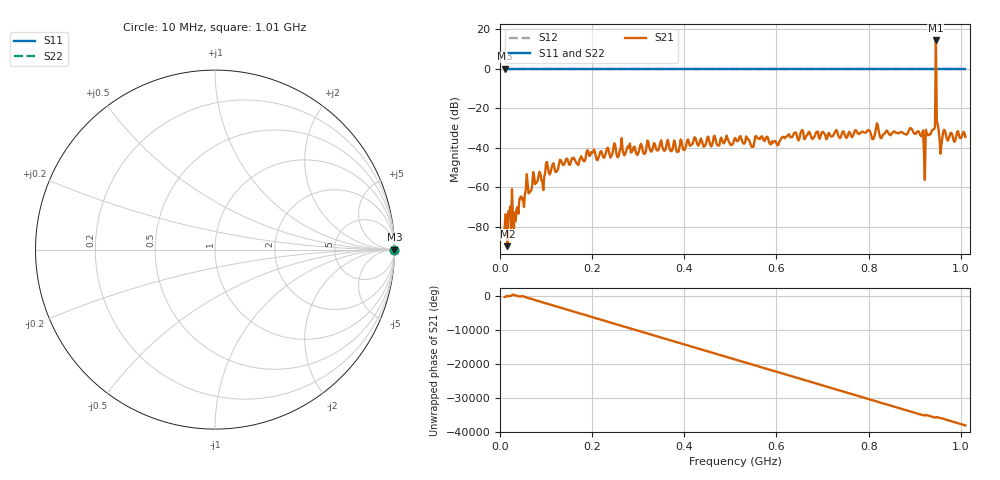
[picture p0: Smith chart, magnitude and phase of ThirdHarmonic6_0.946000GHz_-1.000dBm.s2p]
! 8/16/2025 6:45:18 AM
! C:\ANRITSUVNA\TEMP\TEMP.S2P
! CHANNEL.1
! TR.MEASUREMENT
! RAW.DATA
! RF.CORRECTION.OFF
! AVERAGING.OFF
! IF.BANDWIDTH: 5KHZ
! SWEEPTYPE:  FREQ.SWEEP(Linear)
! Reference Plane Port Info
! PORT:  PORT1  PORT2
! DISTANCE:  0  m  0  m
! TIME:  0  s  0  s
! PHASE.OFFSET:  0  deg.  0  deg.
! LOSS:  0  dB  0  dB
! REF.LOSS:  0  dB  0  dB
! REF.FREQ:  0  Hz  0  Hz
! Power Info
! POWER:  -20  dBm  -20  dBm
! EFF.POWER:  -20  dBm  -20  dBm
! SOURCE.ATTEN:  0  dB  0  dB
! TEST.ATTEN:  0  dB  0  dB
# GHZ S RI R 50.0
! FREQ.GHZ  S11RE  S11IM  S21RE  S21IM  S12RE  S12IM  S22RE  S22IM
!; PortSelection: Port_12
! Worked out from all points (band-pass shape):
!   501 points, 10 MHz to 1.01 GHz, reference 50 ohm
!   highest |S21| = 14.29 dB at 946 MHz (marker M1); lowest = -89.8 dB at 16 MHz (marker M2)
!   |S21| within 3 dB of the highest: 945.8633 MHz to 946.1469 MHz (283.5 kHz wide, 0.03 % of centre)
!   lowest |S11| = 0.0 dB at 10 MHz (marker M3)
!   |S11| at or under -10 dB: nowhere
!   |S22| runs from 0.0 to 0.0 dB; largest |S21 - S12| = 5.7
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0.01  1 0  -9.33e-05 -4.2e-06  1 0  1 0
0.016  1 0  3.13e-05 8.7e-06  1 0  1 0
0.032  1 0  0.000223 -5.93e-05  1 0  1 0
0.058  1 0  0.00213 0.000351  1 0  1 0
0.094  1 0  0.000848 -7.1e-05  1 0  1 0
0.102  1 0  0.00417 0.00131  1 0  1 0
0.178  1 0  -0.00552 0.000146  1 0  1 0
0.344  1 0  0.0081 -0.0037  1 0  1 0
0.51  1 0  -0.00909 0.0153  1 0  1 0
0.678  1 0  -0.0166 -0.000188  1 0  1 0
0.844  1 0  0.0157 -0.0158  1 0  1 0
0.892  1 0  -0.0312 0.0013  1 0  1 0
0.914  1 0  0.0188 0.00534  1 0  1 0
0.918  1 0  -0.0196 -0.019  1 0  1 0
0.94  1 0  0.0199 0.0208  1 0  1 0
0.942  1 0  0.0249 -0.0168  1 0  1 0
0.946  1 0  -2.275 -4.659  1 0  1 0
0.95  1 0  0.0283 -0.0271  1 0  1 0
0.952  1 0  -0.0203 -0.0175  1 0  1 0
0.958  1 0  0.00896 0.00765  1 0  1 0
0.964  1 0  -0.0235 0.0162  1 0  1 0
1.01  1 0  0.0045 0.0183  1 0  1 0
